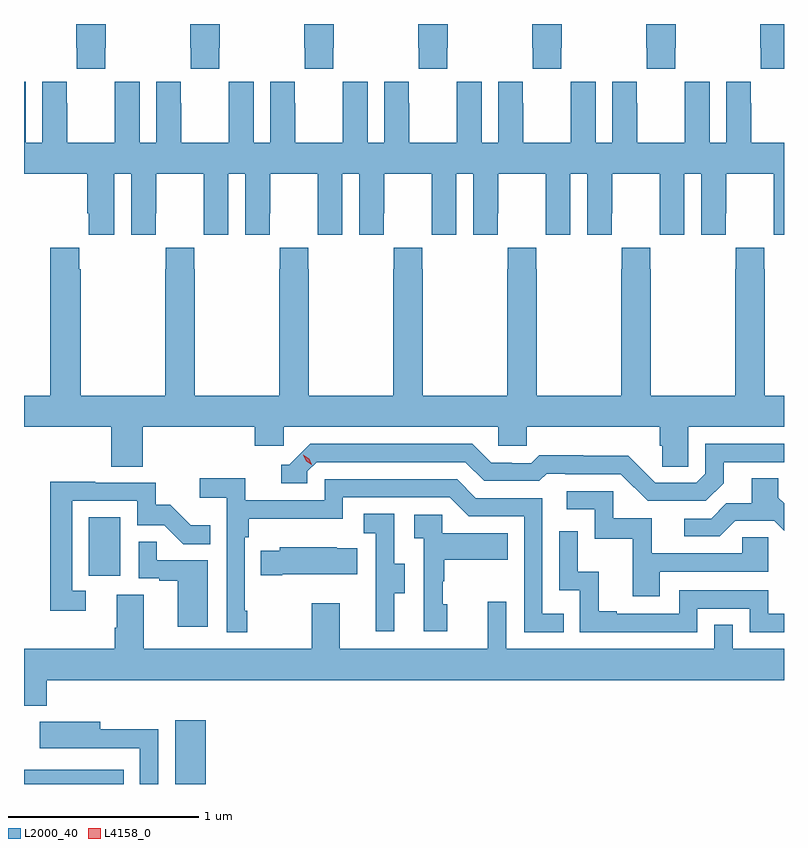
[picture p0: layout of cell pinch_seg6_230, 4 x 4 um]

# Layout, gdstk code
import gdstk
lib = gdstk.Library(unit=1e-6, precision=1e-09)
def R(c, l, rs):  # rectangles x0, y0, x1, y1
    for r in rs: c.add(gdstk.rectangle(r[:2], r[2:], *l))
def P(c, l, *ps):  # polygons
    for p in ps: c.add(gdstk.Polygon(p, *l))
L2000_40 = (2000, 40)
L4158_0 = (4158, 0)

pinch_seg6_230 = lib.new_cell('pinch_seg6_230')
R(pinch_seg6_230, L2000_40, [(1114.916,930.805,1115.44,930.879), (1115.711,930.805,1115.872,931.141), (1115.258,931.902,1115.422,932.209)])
P(pinch_seg6_230, L2000_40, [(1116.543,934.681),(1116.546,934.681),(1116.546,934.805),(1116.391,934.805),(1116.391,934.681),(1116.393,934.681),(1116.393,934.569),(1116.543,934.569)],
  [(1117.143,934.681),(1117.146,934.681),(1117.146,934.805),(1116.991,934.805),(1116.991,934.681),(1116.993,934.681),(1116.993,934.569),(1117.143,934.569)],
  [(1117.743,934.681),(1117.746,934.681),(1117.746,934.805),(1117.591,934.805),(1117.591,934.681),(1117.593,934.681),(1117.593,934.569),(1117.743,934.569)],
  [(1118.343,934.681),(1118.346,934.681),(1118.346,934.805),(1118.191,934.805),(1118.191,934.681),(1118.193,934.681),(1118.193,934.569),(1118.343,934.569)],
  [(1118.916,934.805),(1118.791,934.805),(1118.791,934.681),(1118.793,934.681),(1118.793,934.569),(1118.916,934.569)],
  [(1115.343,934.681),(1115.346,934.681),(1115.346,934.805),(1115.191,934.805),(1115.191,934.681),(1115.193,934.681),(1115.193,934.569),(1115.343,934.569)],
  [(1115.791,934.681),(1115.793,934.681),(1115.793,934.569),(1115.943,934.569),(1115.943,934.681),(1115.946,934.681),(1115.946,934.805),(1115.791,934.805)],
  [(1116.943,934.388),(1116.942,934.388),(1116.942,934.501),(1116.812,934.501),(1116.812,934.18),(1116.724,934.18),(1116.724,934.501),(1116.594,934.501),(1116.594,934.388),(1116.593,934.388),(1116.593,934.18),(1116.343,934.18),(1116.343,934.388),(1116.342,934.388),(1116.342,934.501),(1116.212,934.501),(1116.212,934.18),(1116.124,934.18),(1116.124,934.501),(1115.994,934.501),(1115.994,934.388),(1115.993,934.388),(1115.993,934.18),(1115.743,934.18),(1115.743,934.388),(1115.742,934.388),(1115.742,934.501),(1115.612,934.501),(1115.612,934.18),(1115.524,934.18),(1115.524,934.501),(1115.394,934.501),(1115.394,934.388),(1115.393,934.388),(1115.393,934.18),(1115.143,934.18),(1115.143,934.388),(1115.142,934.388),(1115.142,934.501),(1115.012,934.501),(1115.012,934.18),(1114.924,934.18),(1114.924,934.501),(1114.916,934.501),(1114.916,934.016),(1115.249,934.016),(1115.249,933.808),(1115.258,933.808),(1115.258,933.696),(1115.392,933.696),(1115.392,934.016),(1115.48,934.016),(1115.48,933.696),(1115.61,933.696),(1115.61,933.808),(1115.611,933.808),(1115.611,934.016),(1115.861,934.016),(1115.861,933.808),(1115.862,933.808),(1115.862,933.696),(1115.992,933.696),(1115.992,934.016),(1116.08,934.016),(1116.08,933.696),(1116.21,933.696),(1116.21,933.808),(1116.211,933.808),(1116.211,934.016),(1116.461,934.016),(1116.461,933.808),(1116.462,933.808),(1116.462,933.696),(1116.592,933.696),(1116.592,934.016),(1116.68,934.016),(1116.68,933.696),(1116.81,933.696),(1116.81,933.808),(1116.811,933.808),(1116.811,934.016),(1117.061,934.016),(1117.061,933.808),(1117.062,933.808),(1117.062,933.696),(1117.192,933.696),(1117.192,934.016),(1117.28,934.016),(1117.28,933.696),(1117.41,933.696),(1117.41,933.808),(1117.411,933.808),(1117.411,934.016),(1117.661,934.016),(1117.661,933.808),(1117.662,933.808),(1117.662,933.696),(1117.792,933.696),(1117.792,934.016),(1117.88,934.016),(1117.88,933.696),(1118.01,933.696),(1118.01,933.808),(1118.011,933.808),(1118.011,934.016),(1118.261,934.016),(1118.261,933.808),(1118.262,933.808),(1118.262,933.696),(1118.392,933.696),(1118.392,934.016),(1118.48,934.016),(1118.48,933.696),(1118.61,933.696),(1118.61,933.808),(1118.611,933.808),(1118.611,934.016),(1118.861,934.016),(1118.861,933.808),(1118.862,933.808),(1118.862,933.696),(1118.916,933.696),(1118.916,934.18),(1118.743,934.18),(1118.743,934.388),(1118.742,934.388),(1118.742,934.501),(1118.612,934.501),(1118.612,934.18),(1118.524,934.18),(1118.524,934.501),(1118.394,934.501),(1118.394,934.388),(1118.393,934.388),(1118.393,934.18),(1118.143,934.18),(1118.143,934.388),(1118.142,934.388),(1118.142,934.501),(1118.012,934.501),(1118.012,934.18),(1117.924,934.18),(1117.924,934.501),(1117.794,934.501),(1117.794,934.388),(1117.793,934.388),(1117.793,934.18),(1117.543,934.18),(1117.543,934.388),(1117.542,934.388),(1117.542,934.501),(1117.412,934.501),(1117.412,934.18),(1117.324,934.18),(1117.324,934.501),(1117.194,934.501),(1117.194,934.388),(1117.193,934.388),(1117.193,934.18),(1116.943,934.18)],
  [(1118.214,933.515),(1118.211,933.515),(1118.211,933.628),(1118.061,933.628),(1118.061,933.515),(1118.059,933.515),(1118.059,932.848),(1117.614,932.848),(1117.614,933.515),(1117.611,933.515),(1117.611,933.628),(1117.461,933.628),(1117.461,933.515),(1117.459,933.515),(1117.459,932.848),(1117.014,932.848),(1117.014,933.515),(1117.011,933.515),(1117.011,933.628),(1116.861,933.628),(1116.861,933.515),(1116.859,933.515),(1116.859,932.848),(1116.414,932.848),(1116.414,933.515),(1116.411,933.515),(1116.411,933.628),(1116.261,933.628),(1116.261,933.515),(1116.259,933.515),(1116.259,932.848),(1115.814,932.848),(1115.814,933.515),(1115.811,933.515),(1115.811,933.628),(1115.661,933.628),(1115.661,933.515),(1115.659,933.515),(1115.659,932.848),(1115.214,932.848),(1115.214,933.515),(1115.207,933.515),(1115.207,933.628),(1115.054,933.628),(1115.054,932.848),(1114.916,932.848),(1114.916,932.684),(1115.375,932.684),(1115.375,932.476),(1115.54,932.476),(1115.54,932.684),(1116.131,932.684),(1116.131,932.586),(1116.282,932.586),(1116.282,932.684),(1117.413,932.684),(1117.413,932.586),(1117.563,932.586),(1117.563,932.684),(1118.261,932.684),(1118.261,932.586),(1118.275,932.586),(1118.275,932.476),(1118.412,932.476),(1118.412,932.684),(1118.916,932.684),(1118.916,932.848),(1118.814,932.848),(1118.814,933.515),(1118.811,933.515),(1118.811,933.628),(1118.661,933.628),(1118.661,933.515),(1118.659,933.515),(1118.659,932.848),(1118.214,932.848)],
  [(1118.599,932.389),(1118.599,932.499),(1118.916,932.499),(1118.916,932.595),(1118.502,932.595),(1118.502,932.439),(1118.454,932.391),(1118.238,932.391),(1118.096,932.533),(1117.86,932.533),(1117.86,932.536),(1117.627,932.536),(1117.585,932.493),(1117.482,932.493),(1117.482,932.496),(1117.375,932.496),(1117.276,932.595),(1116.423,932.595),(1116.312,932.484),(1116.269,932.484),(1116.269,932.388),(1116.408,932.388),(1116.408,932.451),(1116.456,932.499),(1117.239,932.499),(1117.338,932.4),(1117.627,932.4),(1117.666,932.439),(1117.765,932.439),(1117.765,932.436),(1118.058,932.436),(1118.199,932.295),(1118.505,932.295)],
  [(1118.659,932.19),(1118.865,932.19),(1118.916,932.139),(1118.916,932.283),(1118.887,932.312),(1118.887,932.414),(1118.747,932.414),(1118.747,932.282),(1118.612,932.282),(1118.532,932.202),(1118.391,932.202),(1118.391,932.109),(1118.578,932.109)],
  [(1116.091,931.717),(1116.078,931.717),(1116.078,932.105),(1116.098,932.105),(1116.098,932.201),(1116.594,932.201),(1116.594,932.313),(1117.158,932.313),(1117.257,932.214),(1117.548,932.214),(1117.548,931.605),(1117.757,931.605),(1117.757,931.701),(1117.644,931.701),(1117.644,932.31),(1117.294,932.31),(1117.195,932.409),(1116.498,932.409),(1116.498,932.298),(1116.08,932.298),(1116.08,932.414),(1115.841,932.414),(1115.841,932.312),(1115.982,932.312),(1115.982,931.605),(1116.091,931.605)],
  [(1115.242,931.821),(1115.169,931.821),(1115.169,932.295),(1115.511,932.295),(1115.511,932.166),(1115.655,932.166),(1115.753,932.068),(1115.897,932.068),(1115.897,932.167),(1115.793,932.167),(1115.686,932.274),(1115.61,932.274),(1115.61,932.391),(1115.291,932.391),(1115.291,932.396),(1115.053,932.396),(1115.053,931.716),(1115.242,931.716)],
  [(1118.263,931.923),(1118.832,931.923),(1118.832,932.103),(1118.695,932.103),(1118.695,932.019),(1118.221,932.019),(1118.221,932.205),(1118.016,932.205),(1118.016,932.346),(1117.773,932.346),(1117.773,932.25),(1117.92,932.25),(1117.92,932.097),(1118.119,932.097),(1118.119,931.794),(1118.263,931.794)],
  [(1116.865,931.81),(1116.919,931.81),(1116.919,931.965),(1116.864,931.965),(1116.864,932.228),(1116.705,932.228),(1116.705,932.125),(1116.768,932.125),(1116.768,931.821),(1116.767,931.821),(1116.767,931.608),(1116.865,931.608)],
  [(1117.144,931.752),(1117.119,931.752),(1117.119,931.871),(1117.129,931.871),(1117.129,931.985),(1117.463,931.985),(1117.463,932.125),(1117.116,932.125),(1117.116,932.223),(1116.969,932.223),(1116.969,932.099),(1117.02,932.099),(1117.02,931.608),(1117.144,931.608)],
  [(1118.46,931.728),(1118.736,931.728),(1118.736,931.605),(1118.916,931.605),(1118.916,931.701),(1118.832,931.701),(1118.832,931.824),(1118.364,931.824),(1118.364,931.701),(1118.035,931.701),(1118.035,931.714),(1117.94,931.714),(1117.94,931.922),(1117.83,931.922),(1117.83,932.134),(1117.734,932.134),(1117.734,931.824),(1117.842,931.824),(1117.842,931.605),(1118.46,931.605)],
  [(1115.884,931.983),(1115.615,931.983),(1115.615,932.081),(1115.52,932.081),(1115.52,931.887),(1115.627,931.887),(1115.627,931.875),(1115.726,931.875),(1115.726,931.632),(1115.884,931.632)],
  [(1116.274,931.91),(1116.671,931.91),(1116.671,932.047),(1116.563,932.047),(1116.563,932.05),(1116.261,932.05),(1116.261,932.032),(1116.163,932.032),(1116.163,931.903),(1116.274,931.903)],
  [(1115.036,931.352),(1118.916,931.352),(1118.916,931.516),(1118.646,931.516),(1118.646,931.643),(1118.55,931.643),(1118.55,931.516),(1117.455,931.516),(1117.455,931.765),(1117.358,931.765),(1117.358,931.516),(1116.577,931.516),(1116.577,931.756),(1116.43,931.756),(1116.43,931.516),(1115.545,931.516),(1115.545,931.802),(1115.405,931.802),(1115.405,931.628),(1115.393,931.628),(1115.393,931.516),(1114.916,931.516),(1114.916,931.217),(1115.036,931.217)],
  [(1115.622,931.094),(1115.317,931.094),(1115.317,931.132),(1114.999,931.132),(1114.999,930.992),(1115.213,930.992),(1115.213,930.993),(1115.526,930.993),(1115.526,930.805),(1115.622,930.805)])
P(pinch_seg6_230, L4158_0, [(1116.431,932.485),(1116.401,932.504),(1116.385,932.537),(1116.385,932.537),(1116.385,932.537),(1116.416,932.518),(1116.431,932.485),(1116.431,932.485)])

lib.write_gds('pinch_seg6_230.gds')
